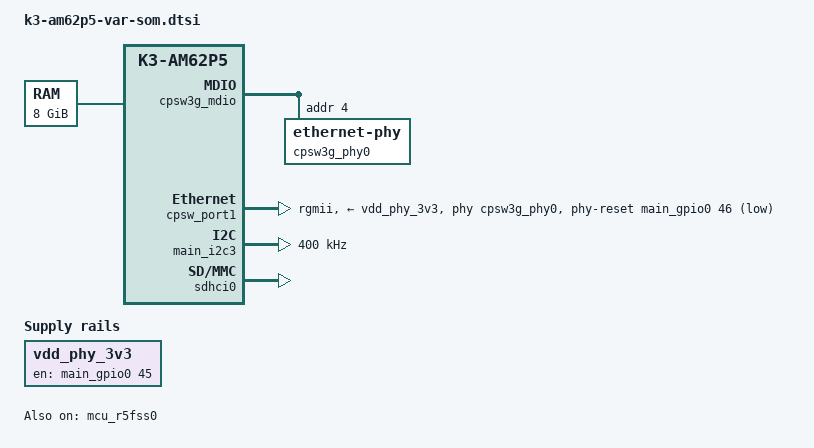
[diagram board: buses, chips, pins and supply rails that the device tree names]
// SPDX-License-Identifier: GPL-2.0-only OR MIT
/*
 * Device Tree file for the AM62P5-SK
 * Copyright (C) 2023-2024 Texas Instruments Incorporated - https://www.ti.com/
 * Copyright (C) 2025 Variscite Ltd. - https://www.variscite.com/
 *
 * Schematics: https://www.ti.com/lit/zip/sprr487
 */

/dts-v1/;

#include <dt-bindings/leds/common.h>
#include <dt-bindings/gpio/gpio.h>
#include <dt-bindings/net/ti-dp83867.h>
#include "k3-am62p5.dtsi"

/ {
	aliases {
		serial0 = &wkup_uart0;
		serial2 = &main_uart0;
		serial3 = &main_uart1;
		mmc0 = &sdhci0;
		mmc1 = &sdhci1;
		mmc2 = &sdhci2;
		spi0 = &ospi0;
		ethernet0 = &cpsw_port1;
		ethernet1 = &cpsw_port2;
		usb0 = &usb0;
		usb1 = &usb1;
	};

	memory@80000000 {
		/* 8G RAM */
		reg = <0x00000000 0x80000000 0x00000000 0x80000000>,
		      <0x00000008 0x80000000 0x00000001 0x80000000>;
		device_type = "memory";
		bootph-pre-ram;
	};

	reserved-memory {
		#address-cells = <2>;
		#size-cells = <2>;
		ranges;

		secure_tfa_ddr: tfa@9e780000 {
			reg = <0x00 0x9e780000 0x00 0x80000>;
			no-map;
		};

		secure_ddr: optee@9e800000 {
			reg = <0x00 0x9e800000 0x00 0x01800000>; /* for OP-TEE */
			no-map;
		};

		wkup_r5fss0_core0_memory_region: r5f-dma-memory@9c900000 {
			compatible = "shared-dma-pool";
			reg = <0x00 0x9c900000 0x00 0x01e00000>;
			no-map;
		};
	};

	vdd_phy_3v3: regulator-phy-vdd {
		pinctrl-names = "default";
		pinctrl-0 = <&phy0_pwr_en_pins_default>;
		compatible = "regulator-fixed";
		regulator-name = "vdd_phy_3v3";
		gpio = <&main_gpio0 45 GPIO_ACTIVE_HIGH>;
		enable-active-high;
		regulator-always-on;
		status="okay";
	};
};

&cpsw3g {
	pinctrl-names = "default";
	pinctrl-0 = <&main_rgmii1_pins_default
		     &main_rgmii2_pins_default>;
};

&cpsw3g_mdio {
	pinctrl-names = "default";
	pinctrl-0 = <&main_mdio1_pins_default>;
	status = "okay";

	cpsw3g_phy0: ethernet-phy@4 {
		reg = <4>;
	};
};

&cpsw_port1 {
	pinctrl-names = "default";
	pinctrl-0 = <&phy0_reset_pins_default>;
	phy-supply = <&vdd_phy_3v3>;
	phy-reset-gpios = <&main_gpio0 46 GPIO_ACTIVE_LOW>;
	phy-reset-duration = <10>;
	phy-reset-post-delay = <20>;
	phy-mode = "rgmii";
	phy-handle = <&cpsw3g_phy0>;
	status = "okay";
};

&fss {
	bootph-all;
};

&mailbox0_cluster0 {
	mbox_r5_0: mbox-r5-0 {
		ti,mbox-rx = <0 0 0>;
		ti,mbox-tx = <1 0 0>;
	};
};

&mailbox0_cluster1 {
	mbox_mcu_r5_0: mbox-mcu-r5-0 {
		ti,mbox-rx = <0 0 0>;
		ti,mbox-tx = <1 0 0>;
	};
};

&main_gpio0 {
	bootph-all;
};

&main_gpio1 {
	bootph-all;
};

&main_i2c3 {
	pinctrl-names = "default";
	pinctrl-0 = <&main_i2c3_pins_default>;
	clock-frequency = <400000>;
	status = "okay";
};

&main_pmx0 {
	bootph-all;

	main_i2c3_pins_default: main-i2c3-pins-default {
		pinctrl-single,pins = <
			AM62PX_IOPAD(0x01d0, PIN_INPUT_PULLUP, 2) /* (A23) UART0_CTSn.I2C3_SCL */
			AM62PX_IOPAD(0x01d4, PIN_INPUT_PULLUP, 2) /* (C22) UART0_RTSn.I2C3_SDA */
		>;
	};

	main_mdio1_pins_default: main-mdio1-default-pins {
		pinctrl-single,pins = <
			AM62PX_IOPAD(0x0160, PIN_OUTPUT, 0) /* (F17) MDIO0_MDC */
			AM62PX_IOPAD(0x015c, PIN_INPUT, 0) /* (F16) MDIO0_MDIO */
		>;
	};

	main_rgmii1_pins_default: main-rgmii1-default-pins {
		pinctrl-single,pins = <
			AM62PX_IOPAD(0x014c, PIN_INPUT, 0) /* (B15) RGMII1_RD0 */
			AM62PX_IOPAD(0x0150, PIN_INPUT, 0) /* (B16) RGMII1_RD1 */
			AM62PX_IOPAD(0x0154, PIN_INPUT, 0) /* (A14) RGMII1_RD2 */
			AM62PX_IOPAD(0x0158, PIN_INPUT, 0) /* (B14) RGMII1_RD3 */
			AM62PX_IOPAD(0x0148, PIN_INPUT, 0) /* (A16) RGMII1_RXC */
			AM62PX_IOPAD(0x0144, PIN_INPUT, 0) /* (A15) RGMII1_RX_CTL */
			AM62PX_IOPAD(0x0134, PIN_INPUT, 0) /* (A18) RGMII1_TD0 */
			AM62PX_IOPAD(0x0138, PIN_INPUT, 0) /* (C17) RGMII1_TD1 */
			AM62PX_IOPAD(0x013c, PIN_INPUT, 0) /* (A17) RGMII1_TD2 */
			AM62PX_IOPAD(0x0140, PIN_INPUT, 0) /* (C16) RGMII1_TD3 */
			AM62PX_IOPAD(0x0130, PIN_INPUT, 0) /* (B17) RGMII1_TXC */
			AM62PX_IOPAD(0x012c, PIN_INPUT, 0) /* (B18) RGMII1_TX_CTL */
		>;
		bootph-all;
	};

	main_rgmii2_pins_default: main-rgmii2-default-pins {
		pinctrl-single,pins = <
			AM62PX_IOPAD(0x0184, PIN_INPUT, 0) /* (E19) RGMII2_RD0 */
			AM62PX_IOPAD(0x0188, PIN_INPUT, 0) /* (E16) RGMII2_RD1 */
			AM62PX_IOPAD(0x018c, PIN_INPUT, 0) /* (E17) RGMII2_RD2 */
			AM62PX_IOPAD(0x0190, PIN_INPUT, 0) /* (C19) RGMII2_RD3 */
			AM62PX_IOPAD(0x0180, PIN_INPUT, 0) /* (D19) RGMII2_RXC */
			AM62PX_IOPAD(0x017c, PIN_INPUT, 0) /* (F19) RGMII2_RX_CTL */
			AM62PX_IOPAD(0x016c, PIN_INPUT, 0) /* (B19) RGMII2_TD0 */
			AM62PX_IOPAD(0x0170, PIN_INPUT, 0) /* (A21) RGMII2_TD1 */
			AM62PX_IOPAD(0x0174, PIN_INPUT, 0) /* (D17) RGMII2_TD2 */
			AM62PX_IOPAD(0x0178, PIN_INPUT, 0) /* (A19) RGMII2_TD3 */
			AM62PX_IOPAD(0x0168, PIN_INPUT, 0) /* (D16) RGMII2_TXC */
			AM62PX_IOPAD(0x0164, PIN_INPUT, 0) /* (A20) RGMII2_TX_CTL */
		>;
		bootph-all;
	};

	phy0_pwr_en_pins_default: phy0-pwr-en-default-pins {
		pinctrl-single,pins = <
			AM62PX_IOPAD(0x00B8, PIN_INPUT, 7) /* (AE24) VOUT0_DATA0.GPIO0_45 */
		>;
	};

	phy0_reset_pins_default: phy0-reset-default-pins {
		pinctrl-single,pins = <
			AM62PX_IOPAD(0x00BC, PIN_INPUT, 7) /* (W23) VOUT0_DATA1.GPIO0_46 */
		>;
	};
};

/* mcu_gpio0 and mcu_gpio_intr are reserved for mcu firmware usage */
&mcu_gpio0 {
	status = "reserved";
};

&mcu_gpio_intr {
	status = "reserved";
};

&mcu_r5fss0 {
	status = "okay";
};

/* eMMC */
&sdhci0 {
	status = "okay";
	ti,driver-strength-ohm = <50>;
	disable-wp;
	bootph-all;
};
